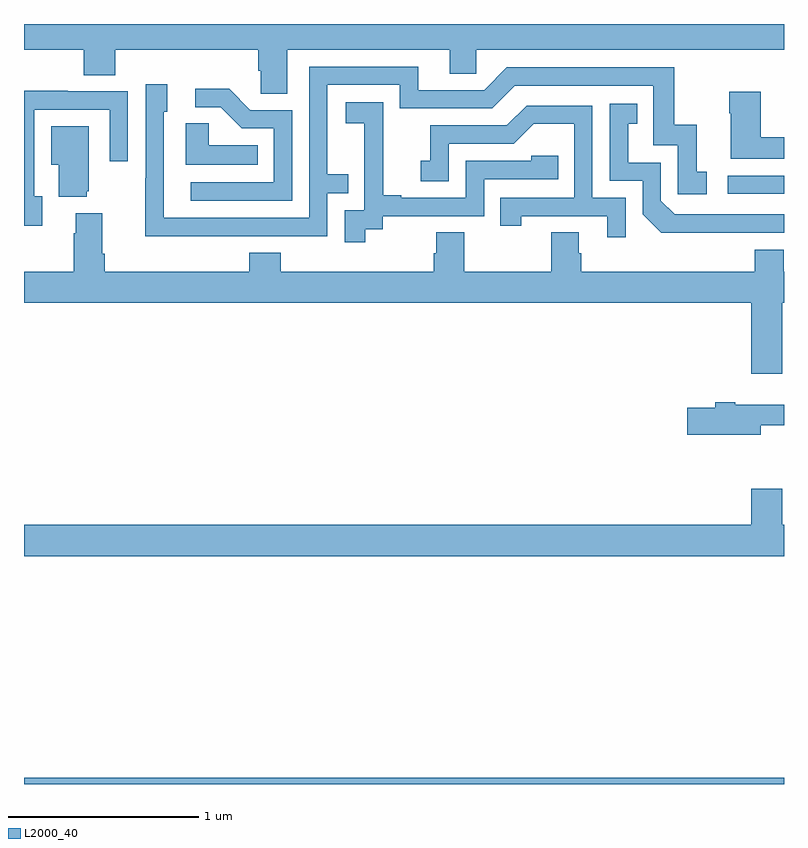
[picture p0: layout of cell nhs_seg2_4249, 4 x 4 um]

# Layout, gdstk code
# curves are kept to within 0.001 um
import gdstk
lib = gdstk.Library(unit=1e-6, precision=1e-09)
def R(c, l, rs):  # rectangles x0, y0, x1, y1
    for r in rs: c.add(gdstk.rectangle(r[:2], r[2:], *l))
def P(c, l, *ps):  # polygons
    for p in ps: c.add(gdstk.Polygon(p, *l))
L2000_40 = (2000, 40)

nhs_seg2_4249 = lib.new_cell('nhs_seg2_4249')
R(nhs_seg2_4249, L2000_40, [(341,615.8,345,615.832), (344.703,618.906,345,619.002)])
P(nhs_seg2_4249, L2000_40, [(342.385,619.664),(343.241,619.664),(343.241,619.537),(343.38,619.537),(343.38,619.664),(345,619.664),(345,619.8),(341,619.8),(341,619.664),(341.315,619.664),(341.315,619.531),(341.48,619.531),(341.48,619.664),(342.233,619.664),(342.233,619.555),(342.246,619.555),(342.246,619.432),(342.385,619.432)],
  [(342.101,618.684),(342.597,618.684),(342.597,618.909),(342.707,618.909),(342.707,619.01),(342.597,619.01),(342.597,619.479),(342.978,619.479),(342.978,619.356),(343.464,619.356),(343.584,619.476),(344.313,619.476),(344.313,619.161),(344.442,619.161),(344.442,618.903),(344.593,618.903),(344.593,619.023),(344.54,619.023),(344.54,619.27),(344.422,619.27),(344.422,619.572),(343.542,619.572),(343.422,619.452),(343.075,619.452),(343.075,619.575),(342.501,619.575),(342.501,618.78),(341.736,618.78),(341.736,619.338),(341.755,619.338),(341.755,619.483),(341.64,619.483),(341.64,618.989),(341.638,618.989),(341.638,618.683)],
  [(342.411,619.347),(342.192,619.347),(342.079,619.46),(341.901,619.46),(341.901,619.362),(342.035,619.362),(342.146,619.251),(342.315,619.251),(342.315,618.966),(341.877,618.966),(341.877,618.87),(342.411,618.87)],
  [(341.095,618.894),(341.055,618.894),(341.055,619.35),(341.451,619.35),(341.451,619.077),(341.547,619.077),(341.547,619.446),(341.231,619.446),(341.231,619.448),(341,619.448),(341,618.738),(341.095,618.738)],
  [(345,619.205),(344.878,619.205),(344.878,619.444),(344.713,619.444),(344.713,619.331),(344.72,619.331),(344.72,619.091),(345,619.091)],
  [(342.796,618.721),(342.888,618.721),(342.888,618.789),(343.422,618.789),(343.422,618.984),(343.811,618.984),(343.811,619.107),(343.671,619.107),(343.671,619.08),(343.326,619.08),(343.326,618.885),(342.985,618.885),(342.985,618.898),(342.89,618.898),(342.89,619.181),(342.891,619.181),(342.891,619.387),(342.693,619.387),(342.693,619.277),(342.791,619.277),(342.791,619.049),(342.792,619.049),(342.792,618.819),(342.687,618.819),(342.687,618.651),(342.796,618.651)],
  [(344.762,618.702),(345,618.702),(345,618.798),(344.424,618.798),(344.352,618.87),(344.352,619.071),(344.179,619.071),(344.179,619.275),(344.228,619.275),(344.228,619.381),(344.082,619.381),(344.082,618.975),(344.256,618.975),(344.256,618.798),(344.354,618.701)],
  [(344.166,618.885),(343.992,618.885),(343.992,619.371),(343.646,619.371),(343.541,619.266),(343.138,619.266),(343.138,619.081),(343.089,619.081),(343.089,618.972),(343.236,618.972),(343.236,619.17),(343.578,619.17),(343.682,619.274),(343.896,619.274),(343.896,618.885),(343.507,618.885),(343.507,618.738),(343.618,618.738),(343.618,618.789),(344.069,618.789),(344.069,618.678),(344.166,618.678)],
  [(342.23,619.162),(341.973,619.162),(341.973,619.277),(341.852,619.277),(341.852,619.058),(342.23,619.058)],
  [(341.33,618.921),(341.341,618.921),(341.341,619.261),(341.144,619.261),(341.144,619.058),(341.183,619.058),(341.183,618.89),(341.33,618.89)],
  [(344.828,617.958),(344.992,617.958),(344.992,618.332),(345,618.332),(345,618.496),(344.998,618.496),(344.998,618.613),(344.846,618.613),(344.846,618.496),(343.934,618.496),(343.934,618.594),(343.921,618.594),(343.921,618.704),(343.774,618.704),(343.774,618.496),(343.317,618.496),(343.317,618.704),(343.169,618.704),(343.169,618.594),(343.157,618.594),(343.157,618.496),(342.35,618.496),(342.35,618.595),(342.185,618.595),(342.185,618.496),(341.426,618.496),(341.426,618.592),(341.413,618.592),(341.413,618.805),(341.273,618.805),(341.273,618.698),(341.261,618.698),(341.261,618.496),(341,618.496),(341,618.332),(344.828,618.332)],
  [(344.878,617.688),(345,617.688),(345,617.797),(344.743,617.797),(344.743,617.81),(344.639,617.81),(344.639,617.78),(344.49,617.78),(344.49,617.638),(344.878,617.638)],
  [(345,617.164),(344.992,617.164),(344.992,617.353),(344.828,617.353),(344.828,617.164),(341,617.164),(341,617),(345,617)])

lib.write_gds('nhs_seg2_4249.gds')
